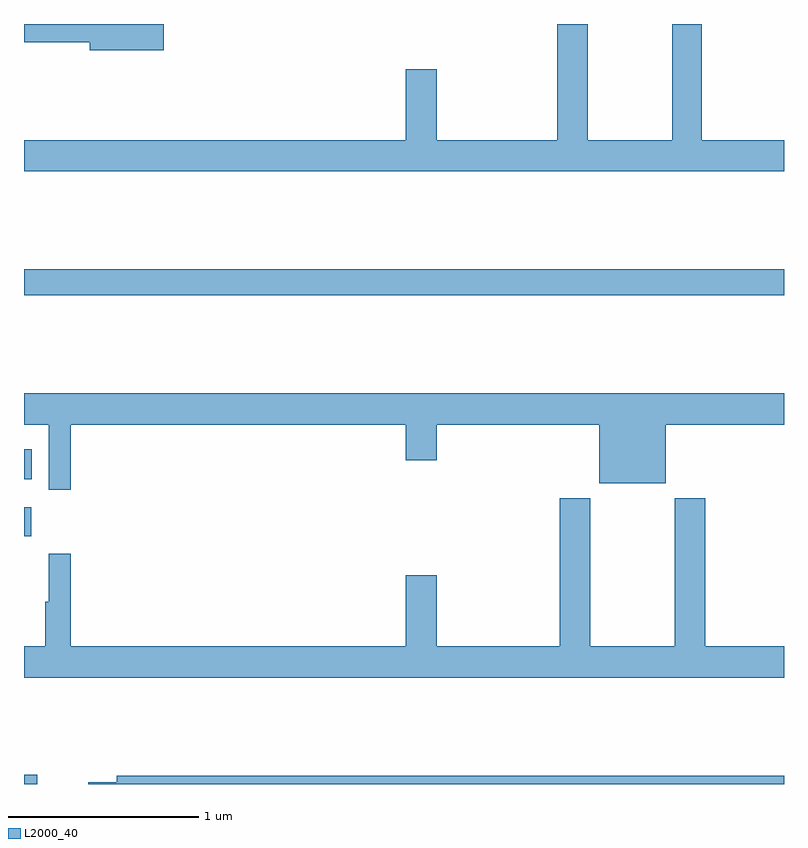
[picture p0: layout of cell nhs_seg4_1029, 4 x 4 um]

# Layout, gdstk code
import gdstk
lib = gdstk.Library(unit=1e-6, precision=1e-09)
def R(c, l, rs):  # rectangles x0, y0, x1, y1
    for r in rs: c.add(gdstk.rectangle(r[:2], r[2:], *l))
def P(c, l, *ps):  # polygons
    for p in ps: c.add(gdstk.Polygon(p, *l))
L2000_40 = (2000, 40)

nhs_seg4_1029 = lib.new_cell('nhs_seg4_1029')
R(nhs_seg4_1029, L2000_40, [(163,822.9,163.069,822.95), (163,824.204,163.039,824.356), (163,824.504,163.042,824.662), (163,825.472,167,825.608)])
P(nhs_seg4_1029, L2000_40, [(167,826.288),(166.566,826.288),(166.566,826.9),(166.411,826.9),(166.411,826.288),(165.966,826.288),(165.966,826.9),(165.806,826.9),(165.806,826.288),(165.172,826.288),(165.172,826.663),(165.008,826.663),(165.008,826.288),(163,826.288),(163,826.124),(167,826.124)],
  [(163.735,826.9),(163,826.9),(163,826.804),(163.346,826.804),(163.346,826.762),(163.735,826.762)],
  [(163.247,824.792),(165.008,824.792),(165.008,824.604),(165.172,824.604),(165.172,824.792),(166.028,824.792),(166.028,824.483),(166.378,824.483),(166.378,824.792),(167,824.792),(167,824.956),(163,824.956),(163,824.792),(163.131,824.792),(163.131,824.448),(163.247,824.448)],
  [(167,823.624),(166.586,823.624),(166.586,824.404),(166.426,824.404),(166.426,823.624),(165.981,823.624),(165.981,824.404),(165.821,824.404),(165.821,823.624),(165.172,823.624),(165.172,823.999),(165.008,823.999),(165.008,823.624),(163.247,823.624),(163.247,824.113),(163.13,824.113),(163.13,823.86),(163.111,823.86),(163.111,823.624),(163,823.624),(163,823.46),(167,823.46)],
  [(167,822.944),(163.487,822.944),(163.487,822.908),(163.338,822.908),(163.338,822.9),(167,822.9)])

lib.write_gds('nhs_seg4_1029.gds')
